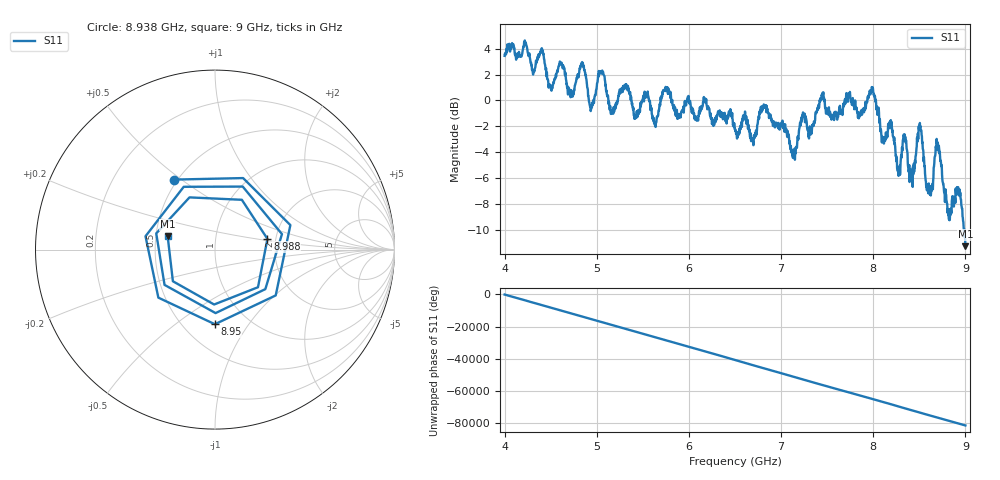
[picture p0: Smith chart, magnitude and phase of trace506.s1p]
! Created with skrf 1.8.0 (http://scikit-rf.org).
# Hz S RI R 50.0
!freq ReS11 ImS11
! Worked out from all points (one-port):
!   1601 points, 4 GHz to 9 GHz, reference 50 ohm
!   lowest |S11| = -11.2 dB at 9 GHz (marker M1), VSWR 1.76, Z = 28.9 + j4.66 ohm
!   |S11| at or under -10 dB: 8.983651 GHz to 8.990705 GHz (7.054 MHz wide, 0.0785 % of centre); 8.991488 GHz to end of sweep
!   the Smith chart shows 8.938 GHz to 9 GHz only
!   S11 on the Smith chart (normalised r, x): 8.938 GHz: 0.48, +0.47; 8.95 GHz: 0.70, -0.71; 8.988 GHz: 1.81, +0.24; 9 GHz: 0.58, +0.09
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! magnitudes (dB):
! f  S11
! 4 GHz  3.4
! 4.403 GHz  4.0
! 4.5 GHz  1.2
! 4.625 GHz  2.7
! 4.725 GHz  0.3
! 4.847 GHz  2.8
! 4.938 GHz  -0.7
! 5.047 GHz  2.2
! 5.162 GHz  -1.0
! 5.25 GHz  0.9
! 5.875 GHz  -1.4
! 6.5 GHz  -2.2
! 6.825 GHz  -0.5
! 7.125 GHz  -4.1
! 7.441 GHz  0.4
! 7.75 GHz  0.4
! 7.988 GHz  1.0
! 8.269 GHz  -5.5
! 8.375 GHz  -4.9
! 8.431 GHz  -5.1
! 8.509 GHz  -2.1
! 8.6 GHz  -6.5
! 8.7 GHz  -3.2
! 8.825 GHz  -8.4
! 8.938 GHz  -6.9
! 8.95 GHz  -7.6
! 8.988 GHz  -10.5
! 9 GHz  -11.2
